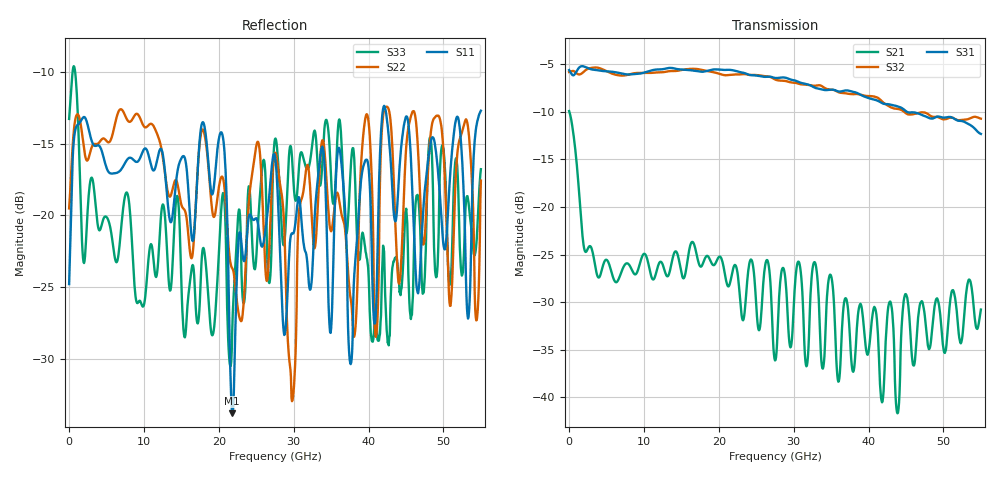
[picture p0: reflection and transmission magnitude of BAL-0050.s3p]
! MARKI MICROWAVE INC.
! Email:  info@markimicrowave.com  Phone:  408-778-4200
! Model Number:  BAL-0050  Date:  10/14
! Filename:		BAL-0050.S3P  Version: 1.0
! Description:  3-port S-parameter data for Balun BAL-0050
! Frequency Range: 	10 MHz to 55 GHz
! Port Configuration:	PORT 1: OUTPUT (0 DEGREE), PORT 2: OUTPUT (180 DEGREE), PORT 3: COMMON
! S3P File: Measurements: Mag<S11> Ang<S11> Mag<S12> Ang<S12> Mag<S13> Ang<S13>! row 1
!  Mag<S21> Ang<S21> Mag<S22> Ang<S22> Mag<S23> Ang<S23>! row 2
!  Mag<S31> Ang<S31> Mag<S32> Ang<S32> Mag<S33> Ang<S33>! row 3
# Hz S  dB  R 50
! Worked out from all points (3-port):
!   801 points, 10 MHz to 55 GHz, reference 50 ohm
!   strongest paths, dB at 10 MHz, 13.76 GHz, 27.5 GHz, 41.25 GHz, 55 GHz:
!     S31: -5.6, -5.4, -6.4, -8.8, -12.3
!     S32: -5.8, -5.7, -6.6, -8.5, -10.7
!     S21: -9.9, -25.7, -36.1, -33.4, -30.8
!   lowest |S11| = -33.8 dB at 21.8 GHz (marker M1), VSWR 1.04, Z = 48 + j0.139 ohm
!   |S11| at or under -10 dB: start of sweep to end of sweep
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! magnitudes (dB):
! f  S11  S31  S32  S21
! 10 MHz  -24.8  -5.6  -5.8  -9.9
! 3.928 GHz  -15.1  -5.6  -5.4  -27.4
! 20.36 GHz  -14.2  -5.6  -6.1  -25.4
! 21.8 GHz  -33.8  -5.6  -6.1  -26.9
! 27.5 GHz  -15.9  -6.4  -6.6  -36.1
! 29.84 GHz  -21.3  -6.6  -6.9  -33.1
! 33.83 GHz  -15.2  -7.6  -7.3  -37.0
! 37.61 GHz  -30.4  -7.8  -8.1  -35.1
! 42.08 GHz  -12.4  -9.2  -9.1  -38.3
! 55 GHz  -12.7  -12.3  -10.7  -30.8
